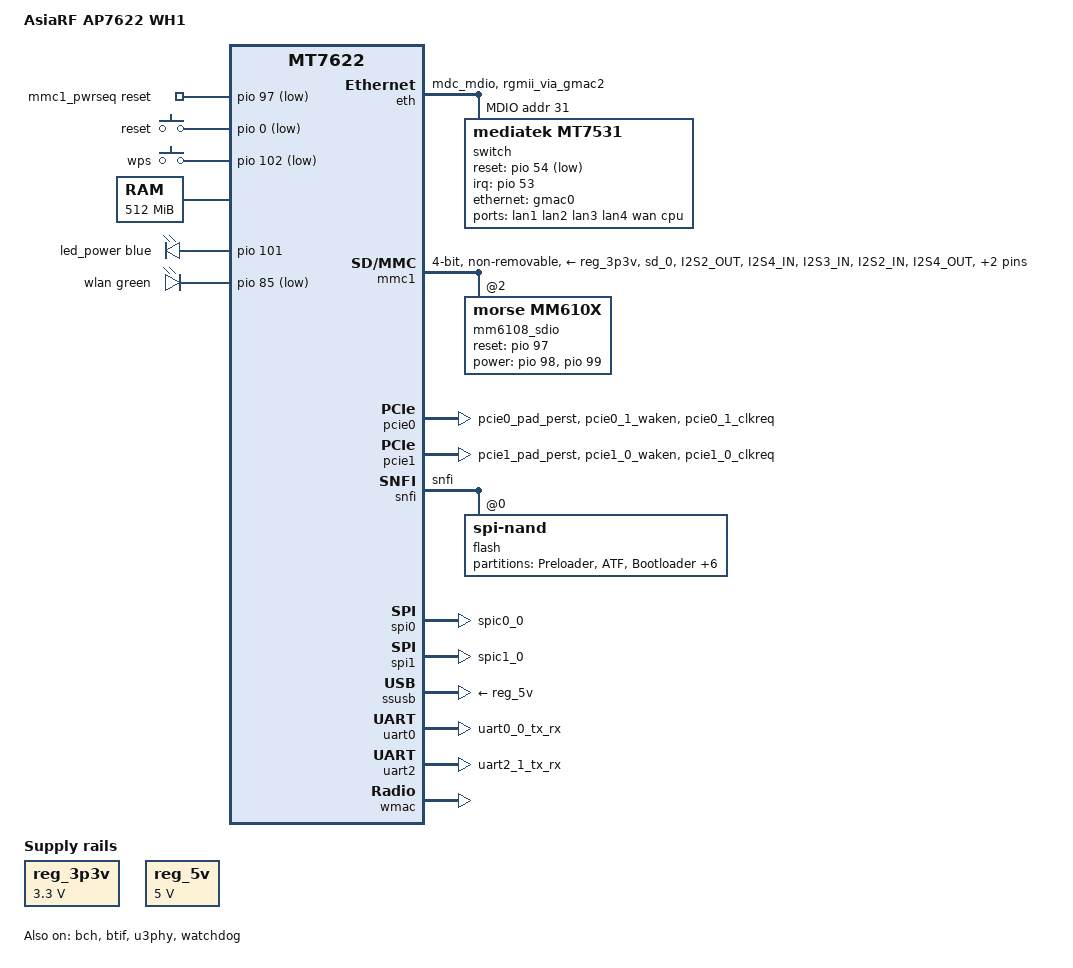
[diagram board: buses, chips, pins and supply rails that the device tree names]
// SPDX-License-Identifier: (GPL-2.0 OR MIT)
/*
 * Copyright (C) 2025 AsiaRF Co., Ltd
 * Author: Elwin Huang <elwin@asiarf.com>
 */

/dts-v1/;
#include "mt7622.dtsi"
#include "mt6380.dtsi"
#include <dt-bindings/gpio/gpio.h>
#include <dt-bindings/input/input.h>
#include <dt-bindings/leds/common.h>

/ {
	model = "AsiaRF AP7622 WH1";
	compatible = "asiarf,ap7622-wh1", "mediatek,mt7622";
	
	aliases {
		serial0 = &uart0;
		led-boot = &led_power;
		led-failsafe = &led_power;
		led-running = &led_power;
		led-upgrade = &led_power;
	};
	
	chosen {
		stdout-path = "serial0:115200n8";
		bootargs = "earlycon=uart8250,mmio32,0x11002000 console=ttyS0,115200n8 swiotlb=512";
	};
	
	cpus {
		cpu@0 {
			proc-supply = <&mt6380_vcpu_reg>;
			sram-supply = <&mt6380_vm_reg>;
		};
		
		cpu@1 {
			proc-supply = <&mt6380_vcpu_reg>;
			sram-supply = <&mt6380_vm_reg>;
		};
	};
	
	mmc1_pwrseq: mmc1_pwrseq {
		compatible = "mmc-pwrseq-simple";
		reset-gpios = <&pio 97 GPIO_ACTIVE_LOW>;
		post-power-on-delay-ms = <200>;
	};
	
	gpio-keys {
		compatible = "gpio-keys";
		
		reset {
			label = "reset";
			linux,code = <KEY_RESTART>;
			gpios = <&pio 0 GPIO_ACTIVE_LOW>;
		};
		
		wps {
			label = "wps";
			linux,code = <KEY_WPS_BUTTON>;
			gpios = <&pio 102 GPIO_ACTIVE_LOW>;
		};
	};
	
	memory@40000000 {
		reg = <0 0x40000000 0 0x20000000>;// 512MiB
		device_type = "memory";
	};
	
	reg_3p3v: regulator-3p3v {
		compatible = "regulator-fixed";
		regulator-name = "fixed-3.3V";
		regulator-min-microvolt = <3300000>;
		regulator-max-microvolt = <3300000>;
		regulator-boot-on;
		regulator-always-on;
	};
	
	reg_5v: regulator-5v {
		compatible = "regulator-fixed";
		regulator-name = "fixed-5V";
		regulator-min-microvolt = <5000000>;
		regulator-max-microvolt = <5000000>;
		regulator-boot-on;
		regulator-always-on;
	};
	
	gpio-leds {
		compatible = "gpio-leds";
		status = "okay";
		
		led_power: power {
			color = <LED_COLOR_ID_BLUE>;
			function = LED_FUNCTION_POWER;
			gpios = <&pio 101 GPIO_ACTIVE_HIGH>;
		};
		
		wlan {
			color = <LED_COLOR_ID_GREEN>;
			function = LED_FUNCTION_WLAN;
			gpios = <&pio 85 GPIO_ACTIVE_LOW>;
			linux,default-trigger = "phy0tpt";
		};
	};
};

&bch {
	status = "okay";
};

&btif {
	status = "okay";
};

&rtc {
	status = "disabled";
};

&eth {
	pinctrl-names = "default";
	pinctrl-0 = <&eth_pins>;
	status = "okay";
	
	gmac0: mac@0 {
		compatible = "mediatek,eth-mac";
		nvmem-cells = <&macaddr_factory_7fff4>;
		nvmem-cell-names = "mac-address";
		reg = <0>;
		phy-mode = "2500base-x";
		
		fixed-link {
			speed = <2500>;
			full-duplex;
			pause;
		};
	};
	
	mdio-bus {
		#address-cells = <1>;
		#size-cells = <0>;
		
		switch@1f {
			compatible = "mediatek,mt7531";
			reg = <31>;
			#interrupt-cells = <1>;
			interrupt-controller;
			interrupt-parent = <&pio>;
			interrupts = <53 IRQ_TYPE_LEVEL_HIGH>;
			reset-gpios = <&pio 54 GPIO_ACTIVE_LOW>;
			
			ports {
				#address-cells = <1>;
				#size-cells = <0>;
				
				port@0 {
					reg = <0>;
					label = "lan1";
				};
				
				port@1 {
					reg = <1>;
					label = "lan2";
				};
				
				port@2 {
					reg = <2>;
					label = "lan3";
				};
				
				port@3 {
					reg = <3>;
					label = "lan4";
				};
				
				port@4 {
					reg = <4>;
					label = "wan";
					nvmem-cells = <&macaddr_factory_7fffa>;
					nvmem-cell-names = "mac-address";
				};
				
				port@6 {
					reg = <6>;
					label = "cpu";
					ethernet = <&gmac0>;
					phy-mode = "2500base-x";
					
					fixed-link {
						speed = <2500>;
						full-duplex;
						pause;
					};
				};
			};
		};
		
	};
};

&mmc1 {
	pinctrl-names = "default", "state_uhs";
	pinctrl-0 = <&sd0_pins_default>;
	pinctrl-1 = <&sd0_pins_uhs>;
	status = "okay";
	bus-width = <4>;
	max-frequency = <50000000>;
	cap-sd-highspeed;
	vmmc-supply = <&reg_3p3v>;
	vqmmc-supply = <&reg_3p3v>;
	assigned-clocks = <&topckgen CLK_TOP_MSDC30_1_SEL>;
	assigned-clock-parents = <&topckgen CLK_TOP_UNIV48M>;
	
	cap-mmc-highspeed;
	cap-sdio-irq;
	non-removable;
	disable-wp;
	drv-type = <2>;
	mmc-pwrseq = <&mmc1_pwrseq>;
	
	#address-cells = <1>;
	#size-cells = <0>;
	mm6108_sdio@0 {
		compatible = "morse,mm610x";
		reset-gpios = <&pio 97 GPIO_ACTIVE_HIGH>;
		power-gpios = <&pio 98 GPIO_ACTIVE_HIGH>,
			<&pio 99 GPIO_ACTIVE_HIGH>;
		status = "okay";
		reg = <2>;
		bus-width = <4>;
	};
};

&pcie0 {
	pinctrl-names = "default";
	pinctrl-0 = <&pcie0_pins>;
	status = "okay";
};

&pcie1 {
	pinctrl-names = "default";
	pinctrl-0 = <&pcie1_pins>;
	status = "okay";
};

&pio {
	eth_pins: eth-pins {
		mux {
			function = "eth";
			groups = "mdc_mdio", "rgmii_via_gmac2";
		};
	};
	
	pcie0_pins: pcie0-pins {
		mux {
			function = "pcie";
			groups = "pcie0_pad_perst",
			"pcie0_1_waken",
			"pcie0_1_clkreq";
		};
	};
	
	pcie1_pins: pcie1-pins {
		mux {
			function = "pcie";
			groups = "pcie1_pad_perst",
			"pcie1_0_waken",
			"pcie1_0_clkreq";
		};
	};
	
	pmic_bus_pins: pmic-bus-pins {
		mux {
			function = "pmic";
			groups = "pmic_bus";
		};
	};
	
	wled_pins: wled-pins {
		mux {
			function = "led";
			groups = "wled";
		};
	};
	
	sd0_pins_default: sd0-pins-default {
		mux {
			function = "sd";
			groups = "sd_0";
		};
		
		/* "I2S2_OUT, "I2S4_IN"", "I2S3_IN", "I2S2_IN",
		*  "I2S4_OUT", "I2S3_OUT" are used as DAT0, DAT1,
		*  DAT2, DAT3, CMD, CLK for SD respectively.
		*/
		conf-cmd-data {
			pins = "I2S2_OUT", "I2S4_IN", "I2S3_IN",
			"I2S2_IN","I2S4_OUT";
			input-enable;
			drive-strength = <8>;
			bias-pull-up;
		};
		conf-clk {
			pins = "I2S3_OUT";
			drive-strength = <12>;
			bias-pull-down;
		};
		conf-cd {
			pins = "TXD3";
			bias-pull-up;
		};
	};
	
	sd0_pins_uhs: sd0-pins-uhs {
		mux {
			function = "sd";
			groups = "sd_0";
		};
		
		conf-cmd-data {
			pins = "I2S2_OUT", "I2S4_IN", "I2S3_IN",
			"I2S2_IN","I2S4_OUT";
			input-enable;
			bias-pull-up;
		};
		
		conf-clk {
			pins = "I2S3_OUT";
			bias-pull-down;
		};
	};
	
	/* Serial NAND is shared pin with SPI-NOR */
	serial_nand_pins: serial-nand-pins {
		mux {
			function = "flash";
			groups = "snfi";
		};
	};
	
	spic0_pins: spic0-pins {
		mux {
			function = "spi";
			groups = "spic0_0";
		};
	};
	
	spic1_pins: spic1-pins {
		mux {
			function = "spi";
			groups = "spic1_0";
		};
	};
	
	uart0_pins: uart0-pins {
		mux {
			function = "uart";
			groups = "uart0_0_tx_rx";
		};
	};
	
	uart2_pins: uart2-pins {
		mux {
			function = "uart";
			groups = "uart2_1_tx_rx";
		};
	};
	
	watchdog_pins: watchdog-pins {
		mux {
			function = "watchdog";
			groups = "watchdog";
		};
	};
};

&pwrap {
	pinctrl-names = "default";
	pinctrl-0 = <&pmic_bus_pins>;
	status = "okay";
};

&snfi {
	pinctrl-names = "default";
	pinctrl-0 = <&serial_nand_pins>;
	status = "okay";
	
	flash@0 {
		compatible = "spi-nand";
		mediatek,bmt-table-size = <0x1000>;
		mediatek,bmt-v2;
		nand-ecc-engine = <&snfi>;
		reg = <0>;
		spi-rx-bus-width = <4>;
		spi-tx-bus-width = <4>;
		
		partitions {
			compatible = "fixed-partitions";
			#address-cells = <1>;
			#size-cells = <1>;
			
			partition@0 {
				label = "Preloader";
				reg = <0x00000 0x0080000>;
				read-only;
			};
			
			partition@80000 {
				label = "ATF";
				reg = <0x80000 0x0040000>;
				read-only;
			};
			
			partition@c0000 {
				label = "Bootloader";
				reg = <0xc0000 0x0080000>;
				read-only;
			};
			
			partition@140000 {
				label = "Config";
				reg = <0x140000 0x0080000>;
			};
			
			partition@1c0000 {
				label = "Factory";
				reg = <0x1c0000 0x0100000>;
				read-only;
				
				nvmem-layout {
					compatible = "fixed-layout";
					#address-cells = <1>;
					#size-cells = <1>;

					factory_eeprom: eeprom@0 {
						reg = <0x0 0x5000>;
					};
					
					macaddr_factory_7fff4: macaddr@7fff4 {
						reg = <0x7fff4 0x6>;
					};
					
					macaddr_factory_7fffa: macaddr@7fffa {
						reg = <0x7fffa 0x6>;
					};
				};
			};
			
			partition@2c0000 {
				label = "firmware";
				reg = <0x2c0000 0x2000000>;// 32 MiB
				
				compatible = "fixed-partitions";
				#address-cells = <1>;
				#size-cells = <1>;
				
				partition@0 {
					label = "kernel";
					reg = <0x0 0x0800000>;
				};
				
				partition@600000 {
					label = "ubi";
					reg = <0x800000 0x1800000>;
				};
			};
			
			partition@22c0000 {
				label = "User_data";
				reg = <0x22c0000 0x5300000>;
			};
		};
	};
};

&spi0 {
	pinctrl-names = "default";
	pinctrl-0 = <&spic0_pins>;
	status = "okay";
};

&spi1 {
	pinctrl-names = "default";
	pinctrl-0 = <&spic1_pins>;
	status = "okay";
};

&ssusb {
	vusb33-supply = <&reg_3p3v>;
	vbus-supply = <&reg_5v>;
	status = "okay";
};

&u3phy {
	status = "okay";
};

&uart0 {
	pinctrl-names = "default";
	pinctrl-0 = <&uart0_pins>;
	status = "okay";
};

&uart2 {
	pinctrl-names = "default";
	pinctrl-0 = <&uart2_pins>;
	status = "okay";
};

&watchdog {
	pinctrl-names = "default";
	pinctrl-0 = <&watchdog_pins>;
	status = "okay";
};

&wmac {
	nvmem-cells = <&factory_eeprom>;
	nvmem-cell-names = "eeprom";
	status = "okay";
};
